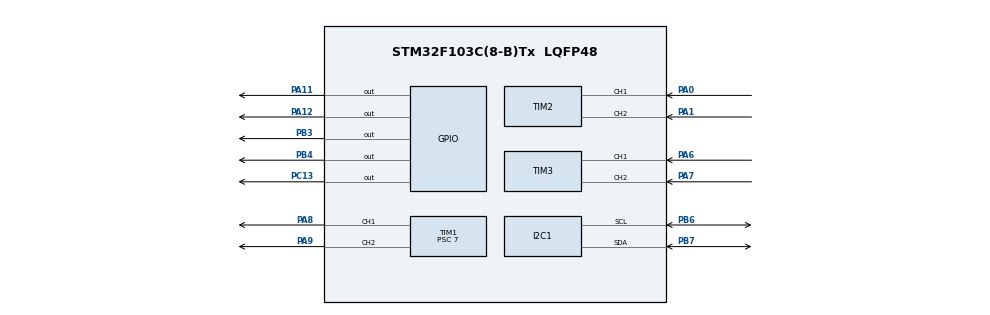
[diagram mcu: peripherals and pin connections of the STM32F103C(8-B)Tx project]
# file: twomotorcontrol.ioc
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I2C1.I2C_Mode=I2C_Fast
Mcu.Family=STM32F1
Mcu.Name=STM32F103C(8-B)Tx
Mcu.Package=LQFP48
NVIC.PriorityGroup=NVIC_PRIORITYGROUP_4
NVIC.TIM2_IRQn=true\:0\:0\:false\:false\:true\:true\:true\:true
NVIC.TIM3_IRQn=true\:0\:0\:false\:false\:true\:true\:true\:true
PA0-WKUP.Signal=S_TIM2_CH1_ETR
PA1.Signal=S_TIM2_CH2
PA11.Signal=GPIO_Output
PA12.Signal=GPIO_Output
PA13.Mode=Serial_Wire
PA13.Signal=SYS_JTMS-SWDIO
PA14.Mode=Serial_Wire
PA14.Signal=SYS_JTCK-SWCLK
PA6.Signal=S_TIM3_CH1
PA7.Signal=S_TIM3_CH2
PA8.Signal=S_TIM1_CH1
PA9.Signal=S_TIM1_CH2
PB3.Signal=GPIO_Output
PB4.Signal=GPIO_Output
PB6.Mode=I2C
PB6.Signal=I2C1_SCL
PB7.Mode=I2C
PB7.Signal=I2C1_SDA
PC13-TAMPER-RTC.Signal=GPIO_Output
ProjectManager.HeapSize=0x200
ProjectManager.StackSize=0x400
ProjectManager.TargetToolchain=STM32CubeIDE
RCC.APB1Freq_Value=8000000
RCC.APB2Freq_Value=8000000
SH.S_TIM1_CH1.0=TIM1_CH1,PWM Generation1 CH1
SH.S_TIM1_CH2.0=TIM1_CH2,PWM Generation2 CH2
SH.S_TIM2_CH1_ETR.0=TIM2_CH1,Encoder_Interface
SH.S_TIM2_CH2.0=TIM2_CH2,Encoder_Interface
SH.S_TIM3_CH1.0=TIM3_CH1,Encoder_Interface
SH.S_TIM3_CH2.0=TIM3_CH2,Encoder_Interface
TIM1.Channel-PWM\ Generation1\ CH1=TIM_CHANNEL_1
TIM1.Channel-PWM\ Generation2\ CH2=TIM_CHANNEL_2
TIM1.Period=199
TIM1.Prescaler=7
TIM2.EncoderMode=TIM_ENCODERMODE_TI12
TIM2.IC1Filter=5
TIM2.IC2Filter=5
TIM3.EncoderMode=TIM_ENCODERMODE_TI12
TIM3.IC1Filter=5
TIM3.IC2Filter=5
VP_TIM1_VS_ClockSourceINT.Mode=Internal
board=custom

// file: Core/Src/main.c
/* USER CODE BEGIN Header */
/**
  ******************************************************************************
  * @file           : main.c
  * @brief          : Main program body
  ******************************************************************************
  * @attention
  *
  * Copyright (c) 2025 STMicroelectronics.
  * All rights reserved.
  *
  * This software is licensed under terms that can be found in the LICENSE file
  * in the root directory of this software component.
  * If no LICENSE file comes with this software, it is provided AS-IS.
  *
  ******************************************************************************
  */
/* USER CODE END Header */
#include "main.h"

/* USER CODE BEGIN Includes */
#include <stdio.h>
#include "fonts.h"
#include "ssd1306.h"
/* USER CODE END Includes */

I2C_HandleTypeDef hi2c1;

TIM_HandleTypeDef htim1;
TIM_HandleTypeDef htim2;
TIM_HandleTypeDef htim3;

void SystemClock_Config(void);
static void MX_GPIO_Init(void);
static void MX_TIM1_Init(void);
static void MX_TIM2_Init(void);
static void MX_TIM3_Init(void);
static void MX_I2C1_Init(void);

int main(void)
{

  /* MCU Configuration--------------------------------------------------------*/

  /* Reset of all peripherals, Initializes the Flash interface and the Systick. */
  HAL_Init();

  /* Configure the system clock */
  SystemClock_Config();

  /* Initialize all configured peripherals */
  MX_GPIO_Init();
  MX_TIM1_Init();
  MX_TIM2_Init();
  MX_TIM3_Init();
  MX_I2C1_Init();
  /* USER CODE BEGIN 2 */
  SSD1306_Init();
  int counterValueLeft=0;
  int counterValueRight=0;

  char snumLeft[5];
  char snumRight[5];

  SSD1306_GotoXY (0,0);
  SSD1306_Puts ("Imanchana", &Font_11x18, 1);
  SSD1306_GotoXY (0, 30);
  SSD1306_Puts ("Kaveeshwara", &Font_11x18, 1);
  SSD1306_UpdateScreen();
  HAL_Delay (1000);

  SSD1306_ScrollRight(0,7);
  HAL_Delay(3000);
  SSD1306_ScrollLeft(0,7);
  HAL_Delay(3000);
  SSD1306_Stopscroll();
  SSD1306_Clear();

  HAL_TIM_Encoder_Start(&htim2,TIM_CHANNEL_ALL);
  HAL_TIM_Encoder_Start(&htim3,TIM_CHANNEL_ALL);
  /* USER CODE END 2 */

  /* Infinite loop */
  /* USER CODE BEGIN WHILE */
  while (1)
  {
	  HAL_GPIO_WritePin(GPIOA, GPIO_PIN_11, 0);  // Enable motor LEFT
	  HAL_GPIO_WritePin(GPIOA, GPIO_PIN_12, 1);
	  HAL_GPIO_WritePin(GPIOB, GPIO_PIN_3, 0);
	  HAL_GPIO_WritePin(GPIOB, GPIO_PIN_4, 1);
	  TIM1->CCR1 = 100;
	  TIM1->CCR2 = 100;// 50% duty cycle for TIM_CHANNEL_1
	  HAL_TIM_PWM_Start(&htim1, TIM_CHANNEL_1);
	  HAL_TIM_PWM_Start(&htim1, TIM_CHANNEL_2);
	  HAL_Delay(300000);

	  HAL_GPIO_WritePin(GPIOA, GPIO_PIN_12, 0);
	  HAL_GPIO_WritePin(GPIOB, GPIO_PIN_4, 0);
	  HAL_TIM_PWM_Stop(&htim1, TIM_CHANNEL_1);
	  HAL_TIM_PWM_Stop(&htim1, TIM_CHANNEL_2);
	  HAL_Delay(1000);

	  counterValueRight = TIM2->CNT;
	  counterValueLeft = TIM3->CNT;

	  itoa(counterValueLeft, snumLeft, 10);
	  itoa(counterValueRight, snumRight, 10);
	  SSD1306_GotoXY (37, 10);
	  SSD1306_Puts (snumLeft, &Font_11x18, 1);
	  SSD1306_GotoXY (37, 40);
	  SSD1306_Puts (snumRight, &Font_11x18, 1);
	  SSD1306_UpdateScreen();
//	  counterValueRight =0;
//	  counterValueLeft = 0;
	  TIM2->CNT=0;
	  TIM3->CNT=0;

	  // Control Motor 1
//	      HAL_GPIO_WritePin(GPIOA, GPIO_PIN_12, 0);  // Enable motor LEFT
//	      HAL_GPIO_WritePin(GPIOA, GPIO_PIN_11, 1); // Set motor LEFT direction BACKWARD
//	      TIM1->CCR1 = 100;
//	      TIM1->CCR2 = 100;// 50% duty cycle for TIM_CHANNEL_1
//	      HAL_TIM_PWM_Start(&htim1, TIM_CHANNEL_1);
//	      HAL_TIM_PWM_Start(&htim1, TIM_CHANNEL_2);
//	      HAL_Delay(3000);
//
//	      // Stop Motor 1
//	      HAL_GPIO_WritePin(GPIOA, GPIO_PIN_11, 0);
//	      HAL_TIM_PWM_Stop(&htim1, TIM_CHANNEL_1);
//	      HAL_Delay(1000);
//
//	      // Control Motor 2
//	      HAL_GPIO_WritePin(GPIOA, GPIO_PIN_12, 1);  // Enable motor LEFT
//	      HAL_GPIO_WritePin(GPIOA, GPIO_PIN_11, 0); // Set motor LEFT direction FOWARD
//	      TIM1->CCR2 = 100; // 50% duty cycle
//	      HAL_TIM_PWM_Start(&htim1, TIM_CHANNEL_1);
//	      HAL_Delay(3000);
//
//	      // Stop Motor 2
//	      HAL_GPIO_WritePin(GPIOA, GPIO_PIN_12, 0);
//	      HAL_TIM_PWM_Stop(&htim1, TIM_CHANNEL_1);
//	      HAL_Delay(1000);
//
//	      HAL_GPIO_WritePin(GPIOB, GPIO_PIN_3, 1);  // Enable motor RIGHT
//	      	      HAL_GPIO_WritePin(GPIOB, GPIO_PIN_4, 0); // Set motor RIGHT direction FOWARD
//	      	      TIM1->CCR1 = 100; // 50% duty cycle
//	      	      HAL_TIM_PWM_Start(&htim1, TIM_CHANNEL_2);
//	      	      HAL_Delay(3000);
//
//	      	      // Stop Motor 1
//	      	      HAL_GPIO_WritePin(GPIOB, GPIO_PIN_3, 0); // Disable motor 1
//	      	      HAL_TIM_PWM_Stop(&htim1, TIM_CHANNEL_2);
//	      	      HAL_Delay(1000);
//
//	      	      // Control Motor 2
//	      	      HAL_GPIO_WritePin(GPIOB, GPIO_PIN_4, 1);  // Enable motor 2
//	      	      HAL_GPIO_WritePin(GPIOB, GPIO_PIN_3, 0); // Set motor 2 direction
//	      	      TIM1->CCR2 = 100; // 50% duty cycle for TIM_CHANNEL_2
//	      	      HAL_TIM_PWM_Start(&htim1, TIM_CHANNEL_2);
//	      	      HAL_Delay(3000);
//
//	      	      // Stop Motor 2
//	      	      HAL_GPIO_WritePin(GPIOB, GPIO_PIN_4, 0); // Disable motor 2
//	      	      HAL_TIM_PWM_Stop(&htim1, TIM_CHANNEL_2);
//	      	      HAL_Delay(1000);

//	  HAL_GPIO_WritePin(GPIOB,GPIO_PIN_3,1);
//	  HAL_GPIO_WritePin(GPIOA,GPIO_PIN_12,0);
//	  HAL_GPIO_WritePin(GPIOB,GPIO_PIN_4,0);
//	  HAL_GPIO_WritePin(GPIOA,GPIO_PIN_11,0);
//	  TIM1->CCR1 = 100;
//	  HAL_TIM_PWM_Start(&htim1,TIM_CHANNEL_1);
//	  HAL_TIM_PWM_Start(&htim1,TIM_CHANNEL_2);
//	  HAL_Delay(3000);
//
//	  HAL_GPIO_WritePin(GPIOB,GPIO_PIN_3,0);
//	  HAL_GPIO_WritePin(GPIOA,GPIO_PIN_12,0);
//	  HAL_GPIO_WritePin(GPIOB,GPIO_PIN_4,0);
//	  HAL_GPIO_WritePin(GPIOA,GPIO_PIN_11,0);
//	  HAL_Delay(1000);
    /* USER CODE END WHILE */

  }
}

void SystemClock_Config(void)
{
  RCC_OscInitTypeDef RCC_OscInitStruct = {0};
  RCC_ClkInitTypeDef RCC_ClkInitStruct = {0};

  /** Initializes the RCC Oscillators according to the specified parameters
  * in the RCC_OscInitTypeDef structure.
  */
  RCC_OscInitStruct.OscillatorType = RCC_OSCILLATORTYPE_HSI;
  RCC_OscInitStruct.HSIState = RCC_HSI_ON;
  RCC_OscInitStruct.HSICalibrationValue = RCC_HSICALIBRATION_DEFAULT;
  RCC_OscInitStruct.PLL.PLLState = RCC_PLL_NONE;
  if (HAL_RCC_OscConfig(&RCC_OscInitStruct) != HAL_OK)
  {
    Error_Handler();
  }

  /** Initializes the CPU, AHB and APB buses clocks
  */
  RCC_ClkInitStruct.ClockType = RCC_CLOCKTYPE_HCLK|RCC_CLOCKTYPE_SYSCLK
                              |RCC_CLOCKTYPE_PCLK1|RCC_CLOCKTYPE_PCLK2;
  RCC_ClkInitStruct.SYSCLKSource = RCC_SYSCLKSOURCE_HSI;
  RCC_ClkInitStruct.AHBCLKDivider = RCC_SYSCLK_DIV1;
  RCC_ClkInitStruct.APB1CLKDivider = RCC_HCLK_DIV1;
  RCC_ClkInitStruct.APB2CLKDivider = RCC_HCLK_DIV1;

  if (HAL_RCC_ClockConfig(&RCC_ClkInitStruct, FLASH_LATENCY_0) != HAL_OK)
  {
    Error_Handler();
  }
}

static void MX_I2C1_Init(void)
{

  hi2c1.Instance = I2C1;
  hi2c1.Init.ClockSpeed = 400000;
  hi2c1.Init.DutyCycle = I2C_DUTYCYCLE_2;
  hi2c1.Init.OwnAddress1 = 0;
  hi2c1.Init.AddressingMode = I2C_ADDRESSINGMODE_7BIT;
  hi2c1.Init.DualAddressMode = I2C_DUALADDRESS_DISABLE;
  hi2c1.Init.OwnAddress2 = 0;
  hi2c1.Init.GeneralCallMode = I2C_GENERALCALL_DISABLE;
  hi2c1.Init.NoStretchMode = I2C_NOSTRETCH_DISABLE;
  if (HAL_I2C_Init(&hi2c1) != HAL_OK)
  {
    Error_Handler();
  }

}

static void MX_TIM1_Init(void)
{

  TIM_ClockConfigTypeDef sClockSourceConfig = {0};
  TIM_MasterConfigTypeDef sMasterConfig = {0};
  TIM_OC_InitTypeDef sConfigOC = {0};
  TIM_BreakDeadTimeConfigTypeDef sBreakDeadTimeConfig = {0};

  htim1.Instance = TIM1;
  htim1.Init.Prescaler = 7;
  htim1.Init.CounterMode = TIM_COUNTERMODE_UP;
  htim1.Init.Period = 199;
  htim1.Init.ClockDivision = TIM_CLOCKDIVISION_DIV1;
  htim1.Init.RepetitionCounter = 0;
  htim1.Init.AutoReloadPreload = TIM_AUTORELOAD_PRELOAD_DISABLE;
  if (HAL_TIM_Base_Init(&htim1) != HAL_OK)
  {
    Error_Handler();
  }
  sClockSourceConfig.ClockSource = TIM_CLOCKSOURCE_INTERNAL;
  if (HAL_TIM_ConfigClockSource(&htim1, &sClockSourceConfig) != HAL_OK)
  {
    Error_Handler();
  }
  if (HAL_TIM_PWM_Init(&htim1) != HAL_OK)
  {
    Error_Handler();
  }
  sMasterConfig.MasterOutputTrigger = TIM_TRGO_RESET;
  sMasterConfig.MasterSlaveMode = TIM_MASTERSLAVEMODE_DISABLE;
  if (HAL_TIMEx_MasterConfigSynchronization(&htim1, &sMasterConfig) != HAL_OK)
  {
    Error_Handler();
  }
  sConfigOC.OCMode = TIM_OCMODE_PWM1;
  sConfigOC.Pulse = 0;
  sConfigOC.OCPolarity = TIM_OCPOLARITY_HIGH;
  sConfigOC.OCNPolarity = TIM_OCNPOLARITY_HIGH;
  sConfigOC.OCFastMode = TIM_OCFAST_DISABLE;
  sConfigOC.OCIdleState = TIM_OCIDLESTATE_RESET;
  sConfigOC.OCNIdleState = TIM_OCNIDLESTATE_RESET;
  if (HAL_TIM_PWM_ConfigChannel(&htim1, &sConfigOC, TIM_CHANNEL_1) != HAL_OK)
  {
    Error_Handler();
  }
  if (HAL_TIM_PWM_ConfigChannel(&htim1, &sConfigOC, TIM_CHANNEL_2) != HAL_OK)
  {
    Error_Handler();
  }
  sBreakDeadTimeConfig.OffStateRunMode = TIM_OSSR_DISABLE;
  sBreakDeadTimeConfig.OffStateIDLEMode = TIM_OSSI_DISABLE;
  sBreakDeadTimeConfig.LockLevel = TIM_LOCKLEVEL_OFF;
  sBreakDeadTimeConfig.DeadTime = 0;
  sBreakDeadTimeConfig.BreakState = TIM_BREAK_DISABLE;
  sBreakDeadTimeConfig.BreakPolarity = TIM_BREAKPOLARITY_HIGH;
  sBreakDeadTimeConfig.AutomaticOutput = TIM_AUTOMATICOUTPUT_DISABLE;
  if (HAL_TIMEx_ConfigBreakDeadTime(&htim1, &sBreakDeadTimeConfig) != HAL_OK)
  {
    Error_Handler();
  }
  HAL_TIM_MspPostInit(&htim1);

}

static void MX_TIM2_Init(void)
{

  TIM_Encoder_InitTypeDef sConfig = {0};
  TIM_MasterConfigTypeDef sMasterConfig = {0};

  htim2.Instance = TIM2;
  htim2.Init.Prescaler = 0;
  htim2.Init.CounterMode = TIM_COUNTERMODE_UP;
  htim2.Init.Period = 65535;
  htim2.Init.ClockDivision = TIM_CLOCKDIVISION_DIV1;
  htim2.Init.AutoReloadPreload = TIM_AUTORELOAD_PRELOAD_DISABLE;
  sConfig.EncoderMode = TIM_ENCODERMODE_TI12;
  sConfig.IC1Polarity = TIM_ICPOLARITY_RISING;
  sConfig.IC1Selection = TIM_ICSELECTION_DIRECTTI;
  sConfig.IC1Prescaler = TIM_ICPSC_DIV1;
  sConfig.IC1Filter = 5;
  sConfig.IC2Polarity = TIM_ICPOLARITY_RISING;
  sConfig.IC2Selection = TIM_ICSELECTION_DIRECTTI;
  sConfig.IC2Prescaler = TIM_ICPSC_DIV1;
  sConfig.IC2Filter = 5;
  if (HAL_TIM_Encoder_Init(&htim2, &sConfig) != HAL_OK)
  {
    Error_Handler();
  }
  sMasterConfig.MasterOutputTrigger = TIM_TRGO_RESET;
  sMasterConfig.MasterSlaveMode = TIM_MASTERSLAVEMODE_DISABLE;
  if (HAL_TIMEx_MasterConfigSynchronization(&htim2, &sMasterConfig) != HAL_OK)
  {
    Error_Handler();
  }

}

static void MX_TIM3_Init(void)
{

  TIM_Encoder_InitTypeDef sConfig = {0};
  TIM_MasterConfigTypeDef sMasterConfig = {0};

  htim3.Instance = TIM3;
  htim3.Init.Prescaler = 0;
  htim3.Init.CounterMode = TIM_COUNTERMODE_UP;
  htim3.Init.Period = 65535;
  htim3.Init.ClockDivision = TIM_CLOCKDIVISION_DIV1;
  htim3.Init.AutoReloadPreload = TIM_AUTORELOAD_PRELOAD_DISABLE;
  sConfig.EncoderMode = TIM_ENCODERMODE_TI12;
  sConfig.IC1Polarity = TIM_ICPOLARITY_RISING;
  sConfig.IC1Selection = TIM_ICSELECTION_DIRECTTI;
  sConfig.IC1Prescaler = TIM_ICPSC_DIV1;
  sConfig.IC1Filter = 5;
  sConfig.IC2Polarity = TIM_ICPOLARITY_RISING;
  sConfig.IC2Selection = TIM_ICSELECTION_DIRECTTI;
  sConfig.IC2Prescaler = TIM_ICPSC_DIV1;
  sConfig.IC2Filter = 5;
  if (HAL_TIM_Encoder_Init(&htim3, &sConfig) != HAL_OK)
  {
    Error_Handler();
  }
  sMasterConfig.MasterOutputTrigger = TIM_TRGO_RESET;
  sMasterConfig.MasterSlaveMode = TIM_MASTERSLAVEMODE_DISABLE;
  if (HAL_TIMEx_MasterConfigSynchronization(&htim3, &sMasterConfig) != HAL_OK)
  {
    Error_Handler();
  }

}

static void MX_GPIO_Init(void)
{
  GPIO_InitTypeDef GPIO_InitStruct = {0};

  /* GPIO Ports Clock Enable */
  __HAL_RCC_GPIOC_CLK_ENABLE();
  __HAL_RCC_GPIOA_CLK_ENABLE();
  __HAL_RCC_GPIOB_CLK_ENABLE();

  /*Configure GPIO pin Output Level */
  HAL_GPIO_WritePin(GPIOC, GPIO_PIN_13, GPIO_PIN_RESET);

  /*Configure GPIO pin Output Level */
  HAL_GPIO_WritePin(GPIOA, GPIO_PIN_11|GPIO_PIN_12, GPIO_PIN_RESET);

  /*Configure GPIO pin Output Level */
  HAL_GPIO_WritePin(GPIOB, GPIO_PIN_3|GPIO_PIN_4, GPIO_PIN_RESET);

  /*Configure GPIO pin : PC13 */
  GPIO_InitStruct.Pin = GPIO_PIN_13;
  GPIO_InitStruct.Mode = GPIO_MODE_OUTPUT_PP;
  GPIO_InitStruct.Pull = GPIO_NOPULL;
  GPIO_InitStruct.Speed = GPIO_SPEED_FREQ_LOW;
  HAL_GPIO_Init(GPIOC, &GPIO_InitStruct);

  /*Configure GPIO pins : PA11 PA12 */
  GPIO_InitStruct.Pin = GPIO_PIN_11|GPIO_PIN_12;
  GPIO_InitStruct.Mode = GPIO_MODE_OUTPUT_PP;
  GPIO_InitStruct.Pull = GPIO_NOPULL;
  GPIO_InitStruct.Speed = GPIO_SPEED_FREQ_LOW;
  HAL_GPIO_Init(GPIOA, &GPIO_InitStruct);

  /*Configure GPIO pins : PB3 PB4 */
  GPIO_InitStruct.Pin = GPIO_PIN_3|GPIO_PIN_4;
  GPIO_InitStruct.Mode = GPIO_MODE_OUTPUT_PP;
  GPIO_InitStruct.Pull = GPIO_NOPULL;
  GPIO_InitStruct.Speed = GPIO_SPEED_FREQ_LOW;
  HAL_GPIO_Init(GPIOB, &GPIO_InitStruct);

}

void Error_Handler(void)
{
  __disable_irq();
  while (1)
  {
  }
}
